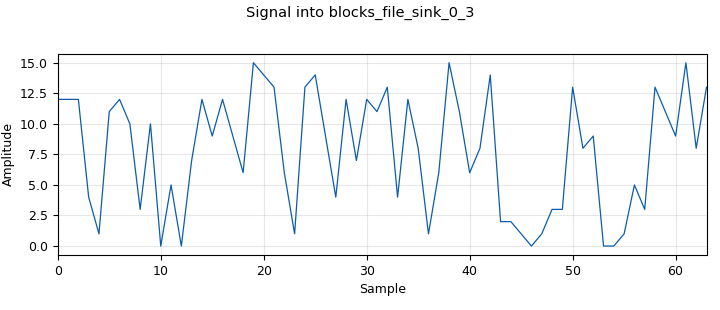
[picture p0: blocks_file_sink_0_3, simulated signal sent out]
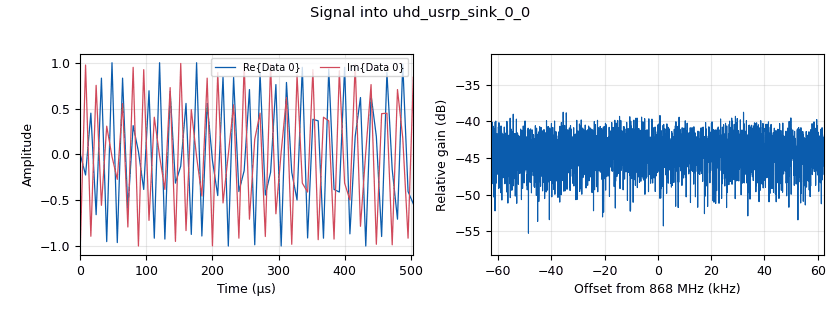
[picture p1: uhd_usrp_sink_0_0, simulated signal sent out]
options:
  parameters:
    generate_options: qt_gui
    id: Tx
    output_language: python
    title: Not titled yet
  states: {}

blocks:
- name: CR
  id: variable
  parameters:
    value: '2'
  states: {}
- name: SF
  id: variable
  parameters:
    value: '9'
  states: {}
- name: bandwidth
  id: variable
  parameters:
    value: int(125e3)
  states: {}
- name: center_freq
  id: variable
  parameters:
    value: int(868e6)
  states: {}
- name: frame_len
  id: variable
  parameters:
    value: '18'
  states: {}
- name: preamble_len
  id: variable
  parameters:
    value: '6'
  states: {}
- name: samp_rate
  id: variable
  parameters:
    value: bandwidth
  states: {}
- name: blocks_file_sink_0_3
  id: blocks_file_sink
  parameters:
    file: dumpIN
    type: byte
  states: {}
- name: blocks_message_strobe_0
  id: blocks_message_strobe
  parameters:
    msg: pmt.intern("#t")
    period: '10000'
  states: {}
- name: blocks_vector_to_stream_0_0_1
  id: blocks_vector_to_stream
  parameters:
    num_items: pow(2,SF)
    type: complex
  states: {}
- name: epy_block_0_1_0_0
  id: epy_block
  parameters:
    CR: CR
    SF: SF
    _source_code: "\"\"\"\nInterleaving block\nScrambles bits together to fight error bursts.\nReference : \"Towards an SDR implementation of LoRa...\" 2020 A.Marquet, N.Montavont, G.Papadopoulos)\n\nINPUT:\n    - in_sig[0]: SF bytes input sequence (4+CR useful bits per byte)\nOUTPUT:\n    - out_sig[0]: CR int32 output sequence\n\"\"\"\n\nimport numpy as np\nfrom gnuradio import gr\nimport time \n\nclass Interleaver(gr.basic_block):\n    def __init__(self, SF=9, CR=4):\n        gr.basic_block.__init__(self,\n            name=\"LoRa Interleaver\",\n            in_sig=[np.uint8],\n            out_sig=[np.uint32])\n        self.SF = SF\n        self.CR = CR\n\n    def forecast(self, noutput_items, ninputs) :\n        #ninput_items_required[i] is the number of items that will be consumed on input port i\n        ninput_items_required = [self.SF]*ninputs   # we need SF items to produce anything\n        return ninput_items_required\n\n    def general_work(self, input_items, output_items):\n        \n        if(len(input_items[0]) >= self.SF) :    # if we have enough items to process\n            in0 = input_items[0][:self.SF]  # input buffer reference\n            # formatting the input buffer\n            input_matrix = np.zeros((self.SF, self.CR+4), dtype=np.uint8)\n            for i in range(len(in0)):\n                bits_crop = [int(x) for x in bin(in0[i])[2:]]                                       # convert to binary  \n                input_matrix[i][:] = ([0]*(self.CR+4-len(bits_crop)) + bits_crop)[-(self.CR+4):]    # crop to 4+CR bits\n\n            # interleaving\n            output_matrix = np.zeros((self.CR+4, self.SF), dtype=np.uint8)\n            for i in range(0,(self.CR+4)) :\n                for j in range(0,(self.SF)) :\n                    idi=self.SF-1-(j-i)%self.SF\n                    idj=self.CR+4-1-i\n                    output_matrix[i][j]=input_matrix[idi][idj]\n            \n            # to uint32\n            output_items[0][0:(self.CR+4)] = output_matrix.dot(1 << np.arange(output_matrix.shape[-1] - 1, -1, -1))\n            # # debug\n            # print(\"\\n--- GENERAL WORK : INTERLEAVER ---\")\n            # print(\"in0 :\")\n            # print(in0)\n            # print(\"len(in0) (should be SF): \")\n            # print(len(in0))\n            # print(\"input_matrix (SF x CR+4):\")\n            # print(input_matrix)\n            # print(\"output_matrix (CR+4 x SF):\")\n            # print(output_matrix)\n            # print(\"output_items[0] = \")\n            # print(output_items[0])\n\n            self.consume(0, self.SF)    # consume inputs (should be SF)\n            return self.CR+4            # return produced outputs (should be CR+4)\n\n        else :\n            return 0\n\n\n\n"
  states: {}
- name: epy_block_1_0_0
  id: epy_block
  parameters:
    _source_code: |
      """
      Whitening block
      Whiten input sequence to remove the frequency and time correlations in it.

      INPUT:
          - in_sig[0]: binary input sequence (4 useful bits per byte)
      OUTPUT:
          - out_sig[0]: whitened binary sequence
      """

      import numpy as np
      from gnuradio import gr
      import time

      whitening_seq =(0xFF, 0xFE, 0xFC, 0xF8, 0xF0, 0xE1, 0xC2, 0x85, 0x0B, 0x17, 0x2F, 0x5E, 0xBC, 0x78, 0xF1, 0xE3,
                      0xC6, 0x8D, 0x1A, 0x34, 0x68, 0xD0, 0xA0, 0x40, 0x80, 0x01, 0x02, 0x04, 0x08, 0x11, 0x23, 0x47,
                      0x8E, 0x1C, 0x38, 0x71, 0xE2, 0xC4, 0x89, 0x12, 0x25, 0x4B, 0x97, 0x2E, 0x5C, 0xB8, 0x70, 0xE0,
                      0xC0, 0x81, 0x03, 0x06, 0x0C, 0x19, 0x32, 0x64, 0xC9, 0x92, 0x24, 0x49, 0x93, 0x26, 0x4D, 0x9B,
                      0x37, 0x6E, 0xDC, 0xB9, 0x72, 0xE4, 0xC8, 0x90, 0x20, 0x41, 0x82, 0x05, 0x0A, 0x15, 0x2B, 0x56,
                      0xAD, 0x5B, 0xB6, 0x6D, 0xDA, 0xB5, 0x6B, 0xD6, 0xAC, 0x59, 0xB2, 0x65, 0xCB, 0x96, 0x2C, 0x58,
                      0xB0, 0x61, 0xC3, 0x87, 0x0F, 0x1F, 0x3E, 0x7D, 0xFB, 0xF6, 0xED, 0xDB, 0xB7, 0x6F, 0xDE, 0xBD,
                      0x7A, 0xF5, 0xEB, 0xD7, 0xAE, 0x5D, 0xBA, 0x74, 0xE8, 0xD1, 0xA2, 0x44, 0x88, 0x10, 0x21, 0x43,
                      0x86, 0x0D, 0x1B, 0x36, 0x6C, 0xD8, 0xB1, 0x63, 0xC7, 0x8F, 0x1E, 0x3C, 0x79, 0xF3, 0xE7, 0xCE,
                      0x9C, 0x39, 0x73, 0xE6, 0xCC, 0x98, 0x31, 0x62, 0xC5, 0x8B, 0x16, 0x2D, 0x5A, 0xB4, 0x69, 0xD2,
                      0xA4, 0x48, 0x91, 0x22, 0x45, 0x8A, 0x14, 0x29, 0x52, 0xA5, 0x4A, 0x95, 0x2A, 0x54, 0xA9, 0x53,
                      0xA7, 0x4E, 0x9D, 0x3B, 0x77, 0xEE, 0xDD, 0xBB, 0x76, 0xEC, 0xD9, 0xB3, 0x67, 0xCF, 0x9E, 0x3D,
                      0x7B, 0xF7, 0xEF, 0xDF, 0xBF, 0x7E, 0xFD, 0xFA, 0xF4, 0xE9, 0xD3, 0xA6, 0x4C, 0x99, 0x33, 0x66,
                      0xCD, 0x9A, 0x35, 0x6A, 0xD4, 0xA8, 0x51, 0xA3, 0x46, 0x8C, 0x18, 0x30, 0x60, 0xC1, 0x83, 0x07,
                      0x0E, 0x1D, 0x3A, 0x75, 0xEA, 0xD5, 0xAA, 0x55, 0xAB, 0x57, 0xAF, 0x5F, 0xBE, 0x7C, 0xF9, 0xF2,
                      0xE5, 0xCA, 0x94, 0x28, 0x50, 0xA1, 0x42, 0x84, 0x09, 0x13, 0x27, 0x4F, 0x9F, 0x3F, 0x7F)

      class Whitening(gr.sync_block):
          def __init__(self):
              gr.sync_block.__init__(
                  self,
                  name='LoRa Whitening',
                  in_sig=[np.uint8],
                  out_sig=[np.uint8]
              )
              self.table_idx = 0 # index of the whitening table cell to be used for whitening
              
          def work(self, input_items, output_items):
              
              in0 = input_items[0]    # input buffer reference
              out = output_items[0]   # output buffer reference

              input_matrix = np.zeros((len(in0), 4), dtype=np.uint8)
              for i in range(len(in0)):
                  bits_crop = [int(x) for x in bin(in0[i])[2:]]                       # convert to binary
                  input_matrix[i][:] = ([0]*(4-len(bits_crop)) + bits_crop)[-(4):]    # crop to 4 useful bits
                  out[i] = in0[i] ^ whitening_seq[self.table_idx] # whiten (XOR) the input vector
                  self.table_idx += 1                         # increment table index
                  if(self.table_idx == len(whitening_seq)):   # if table index is out of bounds, reset it
                      self.table_idx = 0
         


              # # debug
              # print("\n--- GENERAL WORK : WHITENING ---")
              # print("in0 :")
              # print(in0)
              # print("input_matrix :")
              # print(input_matrix)
              # print("out :")
              # print(out)
              # print("return len(out): ")
              # print(len(out))
              # print("--- WHITENING END---")

              return len(out)
  states: {}
- name: epy_block_1_1
  id: epy_block
  parameters:
    CR: CR
    _source_code: |
      """
      Hamming encoding block
      Forward Error Correction encoding block.
      Reference : "MIT EECS II : http://web.mit.edu/6.02/www/f2012/handouts/L05_slides.pdf"

      INPUT:
          - in_sig[0]: binary input sequence (4 useful bits per byte)
      OUTPUT:
          - out_sig[0]: binary output sequence (4+CR useful bits per byte)
      """

      import numpy as np
      from gnuradio import gr


      class HammingTx(gr.sync_block):
          def __init__(self, CR = 4):
              gr.sync_block.__init__(
                  self,
                  name='LoRa Hamming Tx',
                  in_sig=[np.uint8],
                  out_sig=[np.uint8]
              )
              self.CR = CR

          def work(self, input_items, output_items):
              
              in0 = input_items[0]    # input buffer reference
              out = output_items[0]   # output buffer reference
          
              output_matrix = np.zeros((len(in0), 4+self.CR), dtype=np.uint8)
              input_matrix = np.zeros((len(in0), 4), dtype=np.uint8)

              # Hamming encoding (iterate over matrix lines and encode each)
              for i in range(len(in0)):
                  bits_crop = [int(x) for x in bin(in0[i])[2:]]                       # convert to binary    
                  input_matrix[i][:] = ([0]*(4-len(bits_crop)) + bits_crop)[-(4):]    # crop to 4 bits

                  if self.CR == 1: # CR = 1, add one parity bit
                      p0 = input_matrix[i][0] ^ input_matrix[i][1] ^ input_matrix[i][2] ^ input_matrix[i][3]
                      output_matrix[i] = np.asarray([input_matrix[i][0], input_matrix[i][1], input_matrix[i][2], input_matrix[i][3], p0], dtype=np.uint8)

                  if self.CR == 2: # CR = 2, add two parity bits
                      p0 = input_matrix[i][0] ^ input_matrix[i][1] ^ input_matrix[i][2]
                      p1 = input_matrix[i][1] ^ input_matrix[i][2] ^ input_matrix[i][3]
                      output_matrix[i] = np.asarray([input_matrix[i][0], input_matrix[i][1], input_matrix[i][2], input_matrix[i][3], p1, p0], dtype=np.uint8)

                  if self.CR == 3: # CR = 3, add three parity bits (Hamming(7,4))
                      Q = np.array([[0,1,1,1], [1,1,0,1], [1,1,1,0], [1,0,1,1]], np.uint8) 
                      Id = np.identity(4, dtype=np.uint8)
                      G = np.concatenate((Id, Q),axis=1)  # generator matrix
                      output_matrix[i] = (np.dot(input_matrix[i],G)%2)[0:4+self.CR]

                  if self.CR == 4: # CR = 4, add four parity bits (Hamming(8,4))
                      Q = np.array([[0,1,1,1], [1,1,0,1], [1,1,1,0], [1,0,1,1]], np.uint8)
                      Id = np.identity(4, dtype=np.uint8)
                      G = np.concatenate((Id, Q),axis=1)  # generator matrix
                      output_matrix[i] = (np.dot(input_matrix[i],G)%2)

              # binary to decimal conversion
              out[:] = output_matrix.dot(1 << np.arange(output_matrix.shape[-1] - 1, -1, -1))

              # #debug
              # print("\n--- GENERAL WORK : HAMMING_ENC ---")
              # print("in0 :")
              # print(in0)
              # print("input_matrix :")
              # print(input_matrix)
              # print("output_matrix :")
              # print(output_matrix)
              # print("out :")
              # print(out)
              # print("--- HAMMING_ENC END---")

              return len(output_items[0])
  states: {}
- name: epy_block_6_0_0_0_0_0
  id: epy_block
  parameters:
    SF: SF
    _source_code: |-
      """
      Modulation Block:
      Reference : "Towards an SDR implementation of LoRa..." 2020 A.Marquet, N.Montavont, G.Papadopoulos)

      INPUT:
          - in_sig[0]: int32 input stream
      OUTPUT:
          - out_sig[0]: IQ complex vectors output stream
      """

      import numpy as np
      from gnuradio import gr
      import math
      import time

      # def modulate(SF, id, os_factor, sign) :
      #     M  = pow(2,SF)
      #     n_fold = M * os_factor - id * os_factor
      #     chirp = np.zeros(M*os_factor, dtype=np.complex64)
      #     for n in range(0,M*os_factor):
      #         if n < n_fold:
      #             chirp[n] = np.exp(2j*math.pi *(n*n/(2*M)/pow(os_factor,2)+(id/M-0.5)*n/os_factor))
      #         else:
      #             chirp[n] = np.exp(2j*math.pi *(n*n/(2*M)/pow(os_factor,2)+(id/M-1.5)*n/os_factor))
      #     return chirp

      def modulate(SF, id, os_factor, sign) :
          M  = pow(2,SF)
          ka = np.arange(0,M)
          fact1 = np.exp(1j*sign*math.pi*(pow(ka,2))/M)
          chirp = fact1*np.exp(2j*math.pi*(id/M)*ka)

          return chirp

      class Modulation(gr.sync_block):
          def __init__(self, SF = 9):
              gr.sync_block.__init__(
                  self,
                  name='LoRa Modulation',
                  in_sig=[np.uint32],
                  out_sig=[(np.complex64,pow(2,SF))]
              )
              self.SF = SF

          def work(self, input_items, output_items):

              symbols = input_items[0]
              for i in range (len(symbols)) :
                  # t = time.time()
                  output_items[0][i] = modulate(self.SF, symbols[i], 1, 1)   # modulate every symbol
                  # elapsed = time.time() - t
                  # print("Modulation time: ", elapsed)

              # # debug
              # print("\n--- GENERAL WORK : MODULATION ---")
              # print("symbols :")
              # print(symbols)

              return len(output_items[0])
  states: {}
- name: pdu_pdu_to_stream_x_0
  id: pdu_pdu_to_stream_x
  parameters:
    early_behavior: pdu.EARLY_BURST_APPEND
    type: byte
  states: {}
- name: pdu_random_pdu_0
  id: pdu_random_pdu
  parameters:
    length_modulo: SF
    mask: '0x0F'
    maxsize: SF*10
    minsize: SF*10
  states: {}
- name: uhd_usrp_sink_0_0
  id: uhd_usrp_sink
  parameters:
    ant0: TX/RX
    bw0: samp_rate
    center_freq0: center_freq
    dev_addr: '"addr=192.168.10.2"'
    dev_args: '""'
    gain0: '0'
    len_tag_name: ''
    samp_rate: samp_rate
    sync: pc_clock
    type: fc32
  states: {}
- name: virtual_sink_0
  id: virtual_sink
  parameters:
    stream_id: input
  states: {}
- name: virtual_source_0
  id: virtual_source
  parameters:
    stream_id: input
  states: {}

connections:
- [blocks_message_strobe_0, strobe, pdu_random_pdu_0, generate]
- [blocks_vector_to_stream_0_0_1, '0', uhd_usrp_sink_0_0, '0']
- [epy_block_0_1_0_0, '0', epy_block_6_0_0_0_0_0, '0']
- [epy_block_1_0_0, '0', epy_block_1_1, '0']
- [epy_block_1_1, '0', epy_block_0_1_0_0, '0']
- [epy_block_6_0_0_0_0_0, '0', blocks_vector_to_stream_0_0_1, '0']
- [pdu_pdu_to_stream_x_0, '0', virtual_sink_0, '0']
- [pdu_random_pdu_0, pdus, pdu_pdu_to_stream_x_0, pdus]
- [virtual_source_0, '0', blocks_file_sink_0_3, '0']
- [virtual_source_0, '0', epy_block_1_0_0, '0']

metadata:
  file_format: 1
  grc_version: 3.10.2.0
